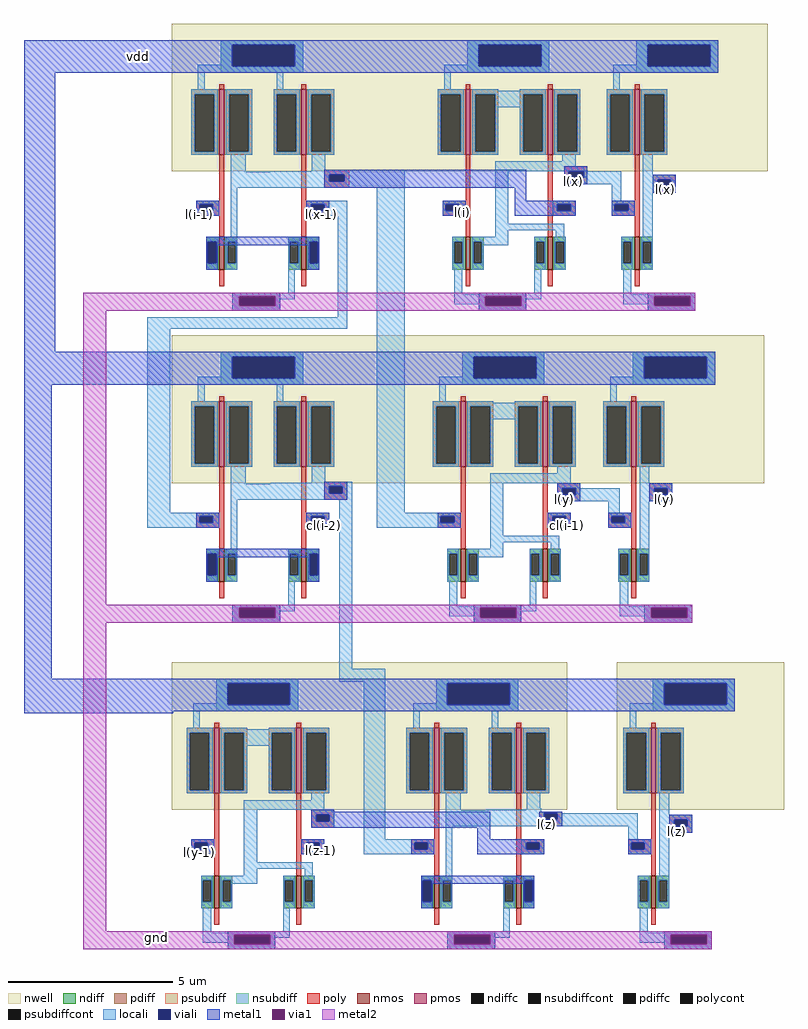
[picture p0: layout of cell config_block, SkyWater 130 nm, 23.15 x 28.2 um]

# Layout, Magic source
magic
tech sky130A
<< nwell >>
rect -100 -150 1715 300
rect -100 -1100 1705 -650
rect -100 -2095 1105 -1645
rect 1255 -2095 1765 -1645
<< nmos >>
rect 45 -450 60 -350
rect 295 -450 310 -350
rect 795 -450 810 -350
rect 1045 -450 1060 -350
rect 1310 -450 1325 -350
rect 45 -1400 60 -1300
rect 295 -1400 310 -1300
rect 780 -1400 795 -1300
rect 1030 -1400 1045 -1300
rect 1300 -1400 1315 -1300
rect 30 -2395 45 -2295
rect 280 -2395 295 -2295
rect 700 -2395 715 -2295
rect 950 -2395 965 -2295
rect 1360 -2395 1375 -2295
<< pmos >>
rect 45 -100 60 100
rect 295 -100 310 100
rect 795 -100 810 100
rect 1045 -100 1060 100
rect 1310 -100 1325 100
rect 45 -1050 60 -850
rect 295 -1050 310 -850
rect 780 -1050 795 -850
rect 1030 -1050 1045 -850
rect 1300 -1050 1315 -850
rect 30 -2045 45 -1845
rect 280 -2045 295 -1845
rect 700 -2045 715 -1845
rect 950 -2045 965 -1845
rect 1360 -2045 1375 -1845
<< ndiff >>
rect 5 -365 45 -350
rect 5 -430 10 -365
rect 35 -430 45 -365
rect 5 -450 45 -430
rect 60 -365 100 -350
rect 60 -430 70 -365
rect 95 -430 100 -365
rect 60 -450 100 -430
rect 255 -365 295 -350
rect 255 -430 260 -365
rect 285 -430 295 -365
rect 255 -450 295 -430
rect 310 -365 350 -350
rect 310 -430 320 -365
rect 345 -430 350 -365
rect 310 -450 350 -430
rect 755 -365 795 -350
rect 755 -430 760 -365
rect 785 -430 795 -365
rect 755 -450 795 -430
rect 810 -365 850 -350
rect 810 -430 820 -365
rect 845 -430 850 -365
rect 810 -450 850 -430
rect 1005 -365 1045 -350
rect 1005 -430 1010 -365
rect 1035 -430 1045 -365
rect 1005 -450 1045 -430
rect 1060 -365 1100 -350
rect 1060 -430 1070 -365
rect 1095 -430 1100 -365
rect 1060 -450 1100 -430
rect 1270 -365 1310 -350
rect 1270 -430 1275 -365
rect 1300 -430 1310 -365
rect 1270 -450 1310 -430
rect 1325 -365 1365 -350
rect 1325 -430 1335 -365
rect 1360 -430 1365 -365
rect 1325 -450 1365 -430
rect 5 -1315 45 -1300
rect 5 -1380 10 -1315
rect 35 -1380 45 -1315
rect 5 -1400 45 -1380
rect 60 -1315 100 -1300
rect 60 -1380 70 -1315
rect 95 -1380 100 -1315
rect 60 -1400 100 -1380
rect 255 -1315 295 -1300
rect 255 -1380 260 -1315
rect 285 -1380 295 -1315
rect 255 -1400 295 -1380
rect 310 -1315 350 -1300
rect 310 -1380 320 -1315
rect 345 -1380 350 -1315
rect 310 -1400 350 -1380
rect 740 -1315 780 -1300
rect 740 -1380 745 -1315
rect 770 -1380 780 -1315
rect 740 -1400 780 -1380
rect 795 -1315 835 -1300
rect 795 -1380 805 -1315
rect 830 -1380 835 -1315
rect 795 -1400 835 -1380
rect 990 -1315 1030 -1300
rect 990 -1380 995 -1315
rect 1020 -1380 1030 -1315
rect 990 -1400 1030 -1380
rect 1045 -1315 1085 -1300
rect 1045 -1380 1055 -1315
rect 1080 -1380 1085 -1315
rect 1045 -1400 1085 -1380
rect 1260 -1315 1300 -1300
rect 1260 -1380 1265 -1315
rect 1290 -1380 1300 -1315
rect 1260 -1400 1300 -1380
rect 1315 -1315 1355 -1300
rect 1315 -1380 1325 -1315
rect 1350 -1380 1355 -1315
rect 1315 -1400 1355 -1380
rect -10 -2310 30 -2295
rect -10 -2375 -5 -2310
rect 20 -2375 30 -2310
rect -10 -2395 30 -2375
rect 45 -2310 85 -2295
rect 45 -2375 55 -2310
rect 80 -2375 85 -2310
rect 45 -2395 85 -2375
rect 240 -2310 280 -2295
rect 240 -2375 245 -2310
rect 270 -2375 280 -2310
rect 240 -2395 280 -2375
rect 295 -2310 335 -2295
rect 295 -2375 305 -2310
rect 330 -2375 335 -2310
rect 295 -2395 335 -2375
rect 660 -2310 700 -2295
rect 660 -2375 665 -2310
rect 690 -2375 700 -2310
rect 660 -2395 700 -2375
rect 715 -2310 755 -2295
rect 715 -2375 725 -2310
rect 750 -2375 755 -2310
rect 715 -2395 755 -2375
rect 910 -2310 950 -2295
rect 910 -2375 915 -2310
rect 940 -2375 950 -2310
rect 910 -2395 950 -2375
rect 965 -2310 1005 -2295
rect 965 -2375 975 -2310
rect 1000 -2375 1005 -2310
rect 965 -2395 1005 -2375
rect 1320 -2310 1360 -2295
rect 1320 -2375 1325 -2310
rect 1350 -2375 1360 -2310
rect 1320 -2395 1360 -2375
rect 1375 -2310 1415 -2295
rect 1375 -2375 1385 -2310
rect 1410 -2375 1415 -2310
rect 1375 -2395 1415 -2375
<< pdiff >>
rect -40 85 45 100
rect -40 -90 -30 85
rect 30 -90 45 85
rect -40 -100 45 -90
rect 60 85 145 100
rect 60 -90 75 85
rect 135 -90 145 85
rect 60 -100 145 -90
rect 210 85 295 100
rect 210 -90 220 85
rect 280 -90 295 85
rect 210 -100 295 -90
rect 310 85 395 100
rect 310 -90 325 85
rect 385 -90 395 85
rect 310 -100 395 -90
rect 710 85 795 100
rect 710 -90 720 85
rect 780 -90 795 85
rect 710 -100 795 -90
rect 810 85 895 100
rect 810 -90 825 85
rect 885 -90 895 85
rect 810 -100 895 -90
rect 960 85 1045 100
rect 960 -90 970 85
rect 1030 -90 1045 85
rect 960 -100 1045 -90
rect 1060 85 1145 100
rect 1060 -90 1075 85
rect 1135 -90 1145 85
rect 1060 -100 1145 -90
rect 1225 85 1310 100
rect 1225 -90 1235 85
rect 1295 -90 1310 85
rect 1225 -100 1310 -90
rect 1325 85 1410 100
rect 1325 -90 1340 85
rect 1400 -90 1410 85
rect 1325 -100 1410 -90
rect -40 -865 45 -850
rect -40 -1040 -30 -865
rect 30 -1040 45 -865
rect -40 -1050 45 -1040
rect 60 -865 145 -850
rect 60 -1040 75 -865
rect 135 -1040 145 -865
rect 60 -1050 145 -1040
rect 210 -865 295 -850
rect 210 -1040 220 -865
rect 280 -1040 295 -865
rect 210 -1050 295 -1040
rect 310 -865 395 -850
rect 310 -1040 325 -865
rect 385 -1040 395 -865
rect 310 -1050 395 -1040
rect 695 -865 780 -850
rect 695 -1040 705 -865
rect 765 -1040 780 -865
rect 695 -1050 780 -1040
rect 795 -865 880 -850
rect 795 -1040 810 -865
rect 870 -1040 880 -865
rect 795 -1050 880 -1040
rect 945 -865 1030 -850
rect 945 -1040 955 -865
rect 1015 -1040 1030 -865
rect 945 -1050 1030 -1040
rect 1045 -865 1130 -850
rect 1045 -1040 1060 -865
rect 1120 -1040 1130 -865
rect 1045 -1050 1130 -1040
rect 1215 -865 1300 -850
rect 1215 -1040 1225 -865
rect 1285 -1040 1300 -865
rect 1215 -1050 1300 -1040
rect 1315 -865 1400 -850
rect 1315 -1040 1330 -865
rect 1390 -1040 1400 -865
rect 1315 -1050 1400 -1040
rect -55 -1860 30 -1845
rect -55 -2035 -45 -1860
rect 15 -2035 30 -1860
rect -55 -2045 30 -2035
rect 45 -1860 130 -1845
rect 45 -2035 60 -1860
rect 120 -2035 130 -1860
rect 45 -2045 130 -2035
rect 195 -1860 280 -1845
rect 195 -2035 205 -1860
rect 265 -2035 280 -1860
rect 195 -2045 280 -2035
rect 295 -1860 380 -1845
rect 295 -2035 310 -1860
rect 370 -2035 380 -1860
rect 295 -2045 380 -2035
rect 615 -1860 700 -1845
rect 615 -2035 625 -1860
rect 685 -2035 700 -1860
rect 615 -2045 700 -2035
rect 715 -1860 800 -1845
rect 715 -2035 730 -1860
rect 790 -2035 800 -1860
rect 715 -2045 800 -2035
rect 865 -1860 950 -1845
rect 865 -2035 875 -1860
rect 935 -2035 950 -1860
rect 865 -2045 950 -2035
rect 965 -1860 1050 -1845
rect 965 -2035 980 -1860
rect 1040 -2035 1050 -1860
rect 965 -2045 1050 -2035
rect 1275 -1860 1360 -1845
rect 1275 -2035 1285 -1860
rect 1345 -2035 1360 -1860
rect 1275 -2045 1360 -2035
rect 1375 -1860 1460 -1845
rect 1375 -2035 1390 -1860
rect 1450 -2035 1460 -1860
rect 1375 -2045 1460 -2035
<< ndiffc >>
rect 10 -430 35 -365
rect 70 -430 95 -365
rect 260 -430 285 -365
rect 320 -430 345 -365
rect 760 -430 785 -365
rect 820 -430 845 -365
rect 1010 -430 1035 -365
rect 1070 -430 1095 -365
rect 1275 -430 1300 -365
rect 1335 -430 1360 -365
rect 10 -1380 35 -1315
rect 70 -1380 95 -1315
rect 260 -1380 285 -1315
rect 320 -1380 345 -1315
rect 745 -1380 770 -1315
rect 805 -1380 830 -1315
rect 995 -1380 1020 -1315
rect 1055 -1380 1080 -1315
rect 1265 -1380 1290 -1315
rect 1325 -1380 1350 -1315
rect -5 -2375 20 -2310
rect 55 -2375 80 -2310
rect 245 -2375 270 -2310
rect 305 -2375 330 -2310
rect 665 -2375 690 -2310
rect 725 -2375 750 -2310
rect 915 -2375 940 -2310
rect 975 -2375 1000 -2310
rect 1325 -2375 1350 -2310
rect 1385 -2375 1410 -2310
<< pdiffc >>
rect -30 -90 30 85
rect 75 -90 135 85
rect 220 -90 280 85
rect 325 -90 385 85
rect 720 -90 780 85
rect 825 -90 885 85
rect 970 -90 1030 85
rect 1075 -90 1135 85
rect 1235 -90 1295 85
rect 1340 -90 1400 85
rect -30 -1040 30 -865
rect 75 -1040 135 -865
rect 220 -1040 280 -865
rect 325 -1040 385 -865
rect 705 -1040 765 -865
rect 810 -1040 870 -865
rect 955 -1040 1015 -865
rect 1060 -1040 1120 -865
rect 1225 -1040 1285 -865
rect 1330 -1040 1390 -865
rect -45 -2035 15 -1860
rect 60 -2035 120 -1860
rect 205 -2035 265 -1860
rect 310 -2035 370 -1860
rect 625 -2035 685 -1860
rect 730 -2035 790 -1860
rect 875 -2035 935 -1860
rect 980 -2035 1040 -1860
rect 1285 -2035 1345 -1860
rect 1390 -2035 1450 -1860
<< psubdiff >>
rect 85 -535 230 -520
rect 85 -560 105 -535
rect 215 -560 230 -535
rect 85 -575 230 -560
rect 835 -535 980 -520
rect 835 -560 855 -535
rect 965 -560 980 -535
rect 835 -575 980 -560
rect 1350 -535 1495 -520
rect 1350 -560 1370 -535
rect 1480 -560 1495 -535
rect 1350 -575 1495 -560
rect 85 -1485 230 -1470
rect 85 -1510 105 -1485
rect 215 -1510 230 -1485
rect 85 -1525 230 -1510
rect 820 -1485 965 -1470
rect 820 -1510 840 -1485
rect 950 -1510 965 -1485
rect 820 -1525 965 -1510
rect 1340 -1485 1485 -1470
rect 1340 -1510 1360 -1485
rect 1470 -1510 1485 -1485
rect 1340 -1525 1485 -1510
rect 70 -2480 215 -2465
rect 70 -2505 90 -2480
rect 200 -2505 215 -2480
rect 70 -2520 215 -2505
rect 740 -2480 885 -2465
rect 740 -2505 760 -2480
rect 870 -2505 885 -2480
rect 740 -2520 885 -2505
rect 1400 -2480 1545 -2465
rect 1400 -2505 1420 -2480
rect 1530 -2505 1545 -2480
rect 1400 -2520 1545 -2505
<< nsubdiff >>
rect 50 235 300 250
rect 50 170 85 235
rect 275 170 300 235
rect 50 150 300 170
rect 800 235 1050 250
rect 800 170 835 235
rect 1025 170 1050 235
rect 800 150 1050 170
rect 1315 235 1565 250
rect 1315 170 1350 235
rect 1540 170 1565 235
rect 1315 150 1565 170
rect 50 -715 300 -700
rect 50 -780 85 -715
rect 275 -780 300 -715
rect 50 -800 300 -780
rect 785 -715 1035 -700
rect 785 -780 820 -715
rect 1010 -780 1035 -715
rect 785 -800 1035 -780
rect 1305 -715 1555 -700
rect 1305 -780 1340 -715
rect 1530 -780 1555 -715
rect 1305 -800 1555 -780
rect 35 -1710 285 -1695
rect 35 -1775 70 -1710
rect 260 -1775 285 -1710
rect 35 -1795 285 -1775
rect 705 -1710 955 -1695
rect 705 -1775 740 -1710
rect 930 -1775 955 -1710
rect 705 -1795 955 -1775
rect 1365 -1710 1615 -1695
rect 1365 -1775 1400 -1710
rect 1590 -1775 1615 -1710
rect 1365 -1795 1615 -1775
<< psubdiffcont >>
rect 105 -560 215 -535
rect 855 -560 965 -535
rect 1370 -560 1480 -535
rect 105 -1510 215 -1485
rect 840 -1510 950 -1485
rect 1360 -1510 1470 -1485
rect 90 -2505 200 -2480
rect 760 -2505 870 -2480
rect 1420 -2505 1530 -2480
<< nsubdiffcont >>
rect 85 170 275 235
rect 835 170 1025 235
rect 1350 170 1540 235
rect 85 -780 275 -715
rect 820 -780 1010 -715
rect 1340 -780 1530 -715
rect 70 -1775 260 -1710
rect 740 -1775 930 -1710
rect 1400 -1775 1590 -1710
<< poly >>
rect 45 100 60 115
rect 295 100 310 115
rect 795 100 810 115
rect 1045 100 1060 115
rect 1310 100 1325 115
rect 45 -240 60 -100
rect -25 -250 60 -240
rect -25 -270 -15 -250
rect 25 -270 60 -250
rect -25 -285 60 -270
rect 45 -350 60 -285
rect 295 -240 310 -100
rect 365 -160 440 -145
rect 365 -180 380 -160
rect 425 -180 440 -160
rect 365 -200 440 -180
rect 795 -240 810 -100
rect 295 -250 380 -240
rect 295 -270 325 -250
rect 365 -270 380 -250
rect 295 -285 380 -270
rect 725 -250 810 -240
rect 725 -270 735 -250
rect 775 -270 810 -250
rect 725 -285 810 -270
rect 295 -350 310 -285
rect 795 -350 810 -285
rect 1045 -240 1060 -100
rect 1095 -150 1165 -135
rect 1095 -170 1110 -150
rect 1155 -170 1165 -150
rect 1095 -190 1165 -170
rect 1310 -240 1325 -100
rect 1365 -175 1435 -160
rect 1365 -195 1380 -175
rect 1420 -195 1435 -175
rect 1365 -215 1435 -195
rect 1045 -250 1130 -240
rect 1045 -270 1075 -250
rect 1115 -270 1130 -250
rect 1045 -285 1130 -270
rect 1240 -250 1325 -240
rect 1240 -270 1250 -250
rect 1290 -270 1325 -250
rect 1240 -285 1325 -270
rect 1045 -350 1060 -285
rect 1310 -350 1325 -285
rect 45 -500 60 -450
rect 295 -500 310 -450
rect 795 -500 810 -450
rect 1045 -500 1060 -450
rect 1310 -500 1325 -450
rect 45 -850 60 -835
rect 295 -850 310 -835
rect 780 -850 795 -835
rect 1030 -850 1045 -835
rect 1300 -850 1315 -835
rect 45 -1190 60 -1050
rect -25 -1200 60 -1190
rect -25 -1220 -15 -1200
rect 25 -1220 60 -1200
rect -25 -1235 60 -1220
rect 45 -1300 60 -1235
rect 295 -1190 310 -1050
rect 365 -1110 435 -1095
rect 365 -1130 380 -1110
rect 420 -1130 435 -1110
rect 365 -1150 435 -1130
rect 780 -1190 795 -1050
rect 295 -1200 380 -1190
rect 295 -1220 325 -1200
rect 365 -1220 380 -1200
rect 295 -1235 380 -1220
rect 710 -1200 795 -1190
rect 710 -1220 720 -1200
rect 760 -1220 795 -1200
rect 710 -1235 795 -1220
rect 295 -1300 310 -1235
rect 780 -1300 795 -1235
rect 1030 -1190 1045 -1050
rect 1075 -1115 1145 -1100
rect 1075 -1135 1090 -1115
rect 1130 -1135 1145 -1115
rect 1075 -1155 1145 -1135
rect 1300 -1190 1315 -1050
rect 1355 -1115 1425 -1100
rect 1355 -1135 1370 -1115
rect 1410 -1135 1425 -1115
rect 1355 -1155 1425 -1135
rect 1030 -1200 1115 -1190
rect 1030 -1220 1060 -1200
rect 1100 -1220 1115 -1200
rect 1030 -1235 1115 -1220
rect 1230 -1200 1315 -1190
rect 1230 -1220 1240 -1200
rect 1280 -1220 1315 -1200
rect 1230 -1235 1315 -1220
rect 1030 -1300 1045 -1235
rect 1300 -1300 1315 -1235
rect 45 -1450 60 -1400
rect 295 -1450 310 -1400
rect 780 -1450 795 -1400
rect 1030 -1450 1045 -1400
rect 1300 -1450 1315 -1400
rect 30 -1845 45 -1830
rect 280 -1845 295 -1830
rect 700 -1845 715 -1830
rect 950 -1845 965 -1830
rect 1360 -1845 1375 -1830
rect 30 -2185 45 -2045
rect -40 -2195 45 -2185
rect -40 -2215 -30 -2195
rect 10 -2215 45 -2195
rect -40 -2230 45 -2215
rect 30 -2295 45 -2230
rect 280 -2185 295 -2045
rect 325 -2110 395 -2095
rect 325 -2130 340 -2110
rect 380 -2130 395 -2110
rect 325 -2150 395 -2130
rect 700 -2185 715 -2045
rect 280 -2195 365 -2185
rect 280 -2215 310 -2195
rect 350 -2215 365 -2195
rect 280 -2230 365 -2215
rect 630 -2195 715 -2185
rect 630 -2215 640 -2195
rect 680 -2215 715 -2195
rect 630 -2230 715 -2215
rect 280 -2295 295 -2230
rect 700 -2295 715 -2230
rect 950 -2185 965 -2045
rect 1020 -2105 1090 -2100
rect 1020 -2125 1035 -2105
rect 1075 -2125 1090 -2105
rect 1020 -2145 1090 -2125
rect 1360 -2185 1375 -2045
rect 1415 -2125 1485 -2110
rect 1415 -2145 1430 -2125
rect 1470 -2145 1485 -2125
rect 1415 -2165 1485 -2145
rect 950 -2195 1035 -2185
rect 950 -2215 980 -2195
rect 1020 -2215 1035 -2195
rect 950 -2230 1035 -2215
rect 1290 -2195 1375 -2185
rect 1290 -2215 1300 -2195
rect 1340 -2215 1375 -2195
rect 1290 -2230 1375 -2215
rect 950 -2295 965 -2230
rect 1360 -2295 1375 -2230
rect 30 -2445 45 -2395
rect 280 -2445 295 -2395
rect 700 -2445 715 -2395
rect 950 -2445 965 -2395
rect 1360 -2445 1375 -2395
<< polycont >>
rect -15 -270 25 -250
rect 380 -180 425 -160
rect 325 -270 365 -250
rect 735 -270 775 -250
rect 1110 -170 1155 -150
rect 1380 -195 1420 -175
rect 1075 -270 1115 -250
rect 1250 -270 1290 -250
rect -15 -1220 25 -1200
rect 380 -1130 420 -1110
rect 325 -1220 365 -1200
rect 720 -1220 760 -1200
rect 1090 -1135 1130 -1115
rect 1370 -1135 1410 -1115
rect 1060 -1220 1100 -1200
rect 1240 -1220 1280 -1200
rect -30 -2215 10 -2195
rect 340 -2130 380 -2110
rect 310 -2215 350 -2195
rect 640 -2215 680 -2195
rect 1035 -2125 1075 -2105
rect 1430 -2145 1470 -2125
rect 980 -2215 1020 -2195
rect 1300 -2215 1340 -2195
<< locali >>
rect 50 235 300 250
rect 50 175 85 235
rect -20 170 85 175
rect 275 170 300 235
rect 800 235 1050 250
rect 800 175 835 235
rect -20 150 300 170
rect 730 170 835 175
rect 1025 170 1050 235
rect 1315 235 1565 250
rect 1315 175 1350 235
rect 730 150 1050 170
rect 1245 170 1350 175
rect 1540 170 1565 235
rect 1245 150 1565 170
rect -20 100 0 150
rect 220 100 240 150
rect 730 100 750 150
rect 1245 100 1265 150
rect -40 85 40 100
rect -40 -90 -30 85
rect 30 -90 40 85
rect -40 -100 40 -90
rect 65 85 145 100
rect 65 -90 75 85
rect 135 -90 145 85
rect 65 -100 145 -90
rect 210 85 290 100
rect 210 -90 220 85
rect 280 -90 290 85
rect 210 -100 290 -90
rect 315 85 395 100
rect 315 -90 325 85
rect 385 -90 395 85
rect 315 -100 395 -90
rect 710 85 790 100
rect 710 -90 720 85
rect 780 -90 790 85
rect 710 -100 790 -90
rect 815 95 895 100
rect 960 95 1040 100
rect 815 85 1040 95
rect 815 -90 825 85
rect 885 45 970 85
rect 885 -90 895 45
rect 815 -100 895 -90
rect 960 -90 970 45
rect 1030 -90 1040 85
rect 960 -100 1040 -90
rect 1065 85 1145 100
rect 1065 -90 1075 85
rect 1135 -90 1145 85
rect 1065 -100 1145 -90
rect 1225 85 1305 100
rect 1225 -90 1235 85
rect 1295 -90 1305 85
rect 1225 -100 1305 -90
rect 1330 85 1410 100
rect 1330 -90 1340 85
rect 1400 -90 1410 85
rect 1330 -100 1410 -90
rect 80 -151 125 -100
rect 326 -145 368 -100
rect 1090 -120 1130 -100
rect 885 -135 1130 -120
rect 326 -149 610 -145
rect 201 -151 610 -149
rect 80 -160 610 -151
rect 80 -180 380 -160
rect 425 -180 610 -160
rect 80 -200 610 -180
rect -25 -250 45 -240
rect -25 -270 -15 -250
rect 25 -270 45 -250
rect -25 -285 45 -270
rect 80 -350 100 -200
rect 310 -250 435 -240
rect 310 -270 325 -250
rect 365 -270 435 -250
rect 310 -285 435 -270
rect 5 -365 40 -350
rect 5 -430 10 -365
rect 35 -430 40 -365
rect 5 -450 40 -430
rect 65 -365 100 -350
rect 65 -430 70 -365
rect 95 -430 100 -365
rect 65 -450 100 -430
rect 255 -365 290 -350
rect 255 -430 260 -365
rect 285 -430 290 -365
rect 255 -450 290 -430
rect 315 -365 350 -350
rect 315 -430 320 -365
rect 345 -430 350 -365
rect 315 -450 350 -430
rect 255 -520 275 -450
rect 85 -535 275 -520
rect 85 -560 105 -535
rect 215 -540 275 -535
rect 215 -560 230 -540
rect 85 -575 230 -560
rect 405 -595 435 -285
rect -175 -630 435 -595
rect -175 -1190 -105 -630
rect 50 -715 300 -700
rect 50 -775 85 -715
rect -20 -780 85 -775
rect 275 -780 300 -715
rect -20 -800 300 -780
rect -20 -850 0 -800
rect 220 -850 240 -800
rect -40 -865 40 -850
rect -40 -1040 -30 -865
rect 30 -1040 40 -865
rect -40 -1050 40 -1040
rect 65 -865 145 -850
rect 65 -1040 75 -865
rect 135 -1040 145 -865
rect 65 -1050 145 -1040
rect 210 -865 290 -850
rect 210 -1040 220 -865
rect 280 -1040 290 -865
rect 210 -1050 290 -1040
rect 315 -865 395 -850
rect 315 -1040 325 -865
rect 385 -1040 395 -865
rect 315 -1050 395 -1040
rect 80 -1101 125 -1050
rect 326 -1095 368 -1050
rect 326 -1099 450 -1095
rect 201 -1101 450 -1099
rect 80 -1110 450 -1101
rect 80 -1130 380 -1110
rect 420 -1130 450 -1110
rect 80 -1150 450 -1130
rect -175 -1200 45 -1190
rect -175 -1220 -15 -1200
rect 25 -1220 45 -1200
rect -175 -1235 45 -1220
rect 80 -1300 100 -1150
rect 310 -1200 380 -1190
rect 310 -1220 325 -1200
rect 365 -1220 380 -1200
rect 310 -1235 380 -1220
rect 5 -1315 40 -1300
rect 5 -1380 10 -1315
rect 35 -1380 40 -1315
rect 5 -1400 40 -1380
rect 65 -1315 100 -1300
rect 65 -1380 70 -1315
rect 95 -1380 100 -1315
rect 65 -1400 100 -1380
rect 255 -1315 290 -1300
rect 255 -1380 260 -1315
rect 285 -1380 290 -1315
rect 255 -1400 290 -1380
rect 315 -1315 350 -1300
rect 315 -1380 320 -1315
rect 345 -1380 350 -1315
rect 315 -1400 350 -1380
rect 255 -1470 275 -1400
rect 85 -1485 275 -1470
rect 85 -1510 105 -1485
rect 215 -1490 275 -1485
rect 215 -1510 230 -1490
rect 85 -1525 230 -1510
rect 410 -1665 450 -1150
rect 525 -1190 610 -200
rect 885 -150 1165 -135
rect 725 -250 795 -240
rect 725 -270 735 -250
rect 775 -270 795 -250
rect 725 -285 795 -270
rect 885 -310 925 -150
rect 1095 -170 1110 -150
rect 1155 -170 1270 -150
rect 1095 -190 1270 -170
rect 1240 -240 1270 -190
rect 1335 -160 1365 -100
rect 1335 -175 1435 -160
rect 1335 -195 1380 -175
rect 1420 -195 1435 -175
rect 1335 -215 1435 -195
rect 1060 -250 1130 -240
rect 1060 -270 1075 -250
rect 1115 -270 1130 -250
rect 1060 -285 1130 -270
rect 1240 -250 1310 -240
rect 1240 -270 1250 -250
rect 1290 -270 1310 -250
rect 1240 -285 1310 -270
rect 885 -330 1095 -310
rect 885 -350 925 -330
rect 1070 -350 1095 -330
rect 1335 -350 1365 -215
rect 755 -365 790 -350
rect 755 -430 760 -365
rect 785 -430 790 -365
rect 755 -450 790 -430
rect 815 -365 925 -350
rect 815 -430 820 -365
rect 845 -375 925 -365
rect 1005 -365 1040 -350
rect 845 -430 850 -375
rect 815 -450 850 -430
rect 1005 -430 1010 -365
rect 1035 -430 1040 -365
rect 1005 -450 1040 -430
rect 1065 -365 1100 -350
rect 1065 -430 1070 -365
rect 1095 -430 1100 -365
rect 1065 -450 1100 -430
rect 1270 -365 1305 -350
rect 1270 -430 1275 -365
rect 1300 -430 1305 -365
rect 1270 -450 1305 -430
rect 1330 -365 1365 -350
rect 1330 -430 1335 -365
rect 1360 -430 1365 -365
rect 1330 -450 1365 -430
rect 760 -525 785 -450
rect 1005 -520 1025 -450
rect 835 -525 1025 -520
rect 760 -535 1025 -525
rect 760 -555 855 -535
rect 835 -560 855 -555
rect 965 -540 1025 -535
rect 1275 -525 1300 -450
rect 1350 -525 1495 -520
rect 1275 -535 1495 -525
rect 965 -560 980 -540
rect 1275 -555 1370 -535
rect 835 -575 980 -560
rect 1350 -560 1370 -555
rect 1480 -560 1495 -535
rect 1350 -575 1495 -560
rect 785 -715 1035 -700
rect 785 -775 820 -715
rect 715 -780 820 -775
rect 1010 -780 1035 -715
rect 1305 -715 1555 -700
rect 1305 -775 1340 -715
rect 715 -800 1035 -780
rect 1235 -780 1340 -775
rect 1530 -780 1555 -715
rect 1235 -800 1555 -780
rect 715 -850 735 -800
rect 1235 -850 1255 -800
rect 695 -865 775 -850
rect 695 -1040 705 -865
rect 765 -1040 775 -865
rect 695 -1050 775 -1040
rect 800 -855 880 -850
rect 945 -855 1025 -850
rect 800 -865 1025 -855
rect 800 -1040 810 -865
rect 870 -905 955 -865
rect 870 -1040 880 -905
rect 800 -1050 880 -1040
rect 945 -1040 955 -905
rect 1015 -1040 1025 -865
rect 945 -1050 1025 -1040
rect 1050 -865 1130 -850
rect 1050 -1040 1060 -865
rect 1120 -1040 1130 -865
rect 1050 -1050 1130 -1040
rect 1215 -865 1295 -850
rect 1215 -1040 1225 -865
rect 1285 -1040 1295 -865
rect 1215 -1050 1295 -1040
rect 1320 -865 1400 -850
rect 1320 -1040 1330 -865
rect 1390 -1040 1400 -865
rect 1320 -1050 1400 -1040
rect 1075 -1070 1115 -1050
rect 870 -1100 1115 -1070
rect 1325 -1100 1355 -1050
rect 525 -1200 780 -1190
rect 525 -1220 720 -1200
rect 760 -1220 780 -1200
rect 525 -1235 780 -1220
rect 870 -1260 910 -1100
rect 1075 -1115 1145 -1100
rect 1325 -1115 1425 -1100
rect 1075 -1135 1090 -1115
rect 1130 -1135 1265 -1115
rect 1075 -1155 1265 -1135
rect 1230 -1190 1265 -1155
rect 1325 -1135 1370 -1115
rect 1410 -1135 1425 -1115
rect 1325 -1155 1425 -1135
rect 1045 -1200 1115 -1190
rect 1045 -1220 1060 -1200
rect 1100 -1220 1115 -1200
rect 1045 -1235 1115 -1220
rect 1230 -1200 1300 -1190
rect 1230 -1220 1240 -1200
rect 1280 -1220 1300 -1200
rect 1230 -1235 1300 -1220
rect 870 -1280 1080 -1260
rect 870 -1300 910 -1280
rect 1055 -1300 1080 -1280
rect 1325 -1300 1355 -1155
rect 740 -1315 775 -1300
rect 740 -1380 745 -1315
rect 770 -1380 775 -1315
rect 740 -1400 775 -1380
rect 800 -1315 910 -1300
rect 800 -1380 805 -1315
rect 830 -1325 910 -1315
rect 990 -1315 1025 -1300
rect 830 -1380 835 -1325
rect 800 -1400 835 -1380
rect 990 -1380 995 -1315
rect 1020 -1380 1025 -1315
rect 990 -1400 1025 -1380
rect 1050 -1315 1085 -1300
rect 1050 -1380 1055 -1315
rect 1080 -1380 1085 -1315
rect 1050 -1400 1085 -1380
rect 1260 -1315 1295 -1300
rect 1260 -1380 1265 -1315
rect 1290 -1380 1295 -1315
rect 1260 -1400 1295 -1380
rect 1320 -1315 1355 -1300
rect 1320 -1380 1325 -1315
rect 1350 -1380 1355 -1315
rect 1320 -1400 1355 -1380
rect 745 -1475 770 -1400
rect 990 -1470 1010 -1400
rect 820 -1475 1010 -1470
rect 745 -1485 1010 -1475
rect 745 -1505 840 -1485
rect 820 -1510 840 -1505
rect 950 -1490 1010 -1485
rect 1265 -1475 1290 -1400
rect 1340 -1475 1485 -1470
rect 1265 -1485 1485 -1475
rect 950 -1510 965 -1490
rect 1265 -1505 1360 -1485
rect 820 -1525 965 -1510
rect 1340 -1510 1360 -1505
rect 1470 -1510 1485 -1485
rect 1340 -1525 1485 -1510
rect 35 -1710 285 -1695
rect 410 -1705 550 -1665
rect 35 -1770 70 -1710
rect -35 -1775 70 -1770
rect 260 -1775 285 -1710
rect -35 -1795 285 -1775
rect -35 -1845 -15 -1795
rect -55 -1860 25 -1845
rect -55 -2035 -45 -1860
rect 15 -2035 25 -1860
rect -55 -2045 25 -2035
rect 50 -1850 130 -1845
rect 195 -1850 275 -1845
rect 50 -1860 275 -1850
rect 50 -2035 60 -1860
rect 120 -1900 205 -1860
rect 120 -2035 130 -1900
rect 50 -2045 130 -2035
rect 195 -2035 205 -1900
rect 265 -2035 275 -1860
rect 195 -2045 275 -2035
rect 300 -1860 380 -1845
rect 300 -2035 310 -1860
rect 370 -2035 380 -1860
rect 300 -2045 380 -2035
rect 325 -2065 365 -2045
rect 120 -2095 365 -2065
rect -40 -2195 30 -2185
rect -40 -2215 -30 -2195
rect 10 -2215 30 -2195
rect -40 -2230 30 -2215
rect 120 -2255 160 -2095
rect 325 -2110 395 -2095
rect 325 -2130 340 -2110
rect 380 -2130 395 -2110
rect 325 -2150 395 -2130
rect 485 -2185 550 -1705
rect 705 -1710 955 -1695
rect 705 -1770 740 -1710
rect 635 -1775 740 -1770
rect 930 -1775 955 -1710
rect 1365 -1710 1615 -1695
rect 1365 -1770 1400 -1710
rect 635 -1795 955 -1775
rect 1295 -1775 1400 -1770
rect 1590 -1775 1615 -1710
rect 1295 -1795 1615 -1775
rect 635 -1845 655 -1795
rect 875 -1845 895 -1795
rect 1295 -1845 1315 -1795
rect 615 -1860 695 -1845
rect 615 -2035 625 -1860
rect 685 -2035 695 -1860
rect 615 -2045 695 -2035
rect 720 -1860 800 -1845
rect 720 -2035 730 -1860
rect 790 -2035 800 -1860
rect 720 -2045 800 -2035
rect 865 -1860 945 -1845
rect 865 -2035 875 -1860
rect 935 -2035 945 -1860
rect 865 -2045 945 -2035
rect 970 -1860 1050 -1845
rect 970 -2035 980 -1860
rect 1040 -2035 1050 -1860
rect 970 -2045 1050 -2035
rect 1275 -1860 1355 -1845
rect 1275 -2035 1285 -1860
rect 1345 -2035 1355 -1860
rect 1275 -2045 1355 -2035
rect 1380 -1860 1460 -1845
rect 1380 -2035 1390 -1860
rect 1450 -2035 1460 -1860
rect 1380 -2045 1460 -2035
rect 735 -2096 780 -2045
rect 981 -2090 1023 -2045
rect 981 -2094 1025 -2090
rect 856 -2096 1025 -2094
rect 735 -2100 1025 -2096
rect 735 -2105 1090 -2100
rect 735 -2125 1035 -2105
rect 1075 -2125 1320 -2105
rect 735 -2145 1320 -2125
rect 295 -2195 365 -2185
rect 295 -2215 310 -2195
rect 350 -2215 365 -2195
rect 295 -2230 365 -2215
rect 485 -2195 700 -2185
rect 485 -2215 640 -2195
rect 680 -2215 700 -2195
rect 485 -2230 700 -2215
rect 120 -2275 330 -2255
rect 120 -2295 160 -2275
rect 305 -2295 330 -2275
rect 735 -2295 755 -2145
rect 1290 -2185 1320 -2145
rect 1385 -2110 1415 -2045
rect 1385 -2125 1485 -2110
rect 1385 -2145 1430 -2125
rect 1470 -2145 1485 -2125
rect 1385 -2165 1485 -2145
rect 965 -2195 1035 -2185
rect 965 -2215 980 -2195
rect 1020 -2215 1035 -2195
rect 965 -2230 1035 -2215
rect 1290 -2195 1360 -2185
rect 1290 -2215 1300 -2195
rect 1340 -2215 1360 -2195
rect 1290 -2230 1360 -2215
rect 1385 -2295 1415 -2165
rect -10 -2310 25 -2295
rect -10 -2375 -5 -2310
rect 20 -2375 25 -2310
rect -10 -2395 25 -2375
rect 50 -2310 160 -2295
rect 50 -2375 55 -2310
rect 80 -2320 160 -2310
rect 240 -2310 275 -2295
rect 80 -2375 85 -2320
rect 50 -2395 85 -2375
rect 240 -2375 245 -2310
rect 270 -2375 275 -2310
rect 240 -2395 275 -2375
rect 300 -2310 335 -2295
rect 300 -2375 305 -2310
rect 330 -2375 335 -2310
rect 300 -2395 335 -2375
rect 660 -2310 695 -2295
rect 660 -2375 665 -2310
rect 690 -2375 695 -2310
rect 660 -2395 695 -2375
rect 720 -2310 755 -2295
rect 720 -2375 725 -2310
rect 750 -2375 755 -2310
rect 720 -2395 755 -2375
rect 910 -2310 945 -2295
rect 910 -2375 915 -2310
rect 940 -2375 945 -2310
rect 910 -2395 945 -2375
rect 970 -2310 1005 -2295
rect 970 -2375 975 -2310
rect 1000 -2375 1005 -2310
rect 970 -2395 1005 -2375
rect 1320 -2310 1355 -2295
rect 1320 -2375 1325 -2310
rect 1350 -2375 1355 -2310
rect 1320 -2395 1355 -2375
rect 1380 -2310 1415 -2295
rect 1380 -2375 1385 -2310
rect 1410 -2375 1415 -2310
rect 1380 -2395 1415 -2375
rect -5 -2470 20 -2395
rect 240 -2465 260 -2395
rect 910 -2465 930 -2395
rect 70 -2470 260 -2465
rect -5 -2480 260 -2470
rect -5 -2500 90 -2480
rect 70 -2505 90 -2500
rect 200 -2485 260 -2480
rect 740 -2480 930 -2465
rect 200 -2505 215 -2485
rect 70 -2520 215 -2505
rect 740 -2505 760 -2480
rect 870 -2485 930 -2480
rect 1325 -2470 1350 -2395
rect 1400 -2470 1545 -2465
rect 1325 -2480 1545 -2470
rect 870 -2505 885 -2485
rect 1325 -2500 1420 -2480
rect 740 -2520 885 -2505
rect 1400 -2505 1420 -2500
rect 1530 -2505 1545 -2480
rect 1400 -2520 1545 -2505
<< viali >>
rect 85 170 275 235
rect 835 170 1025 235
rect 1350 170 1540 235
rect 380 -180 425 -160
rect -15 -270 25 -250
rect 325 -270 365 -250
rect 10 -430 35 -365
rect 320 -430 345 -365
rect 105 -560 215 -535
rect 85 -780 275 -715
rect 380 -1130 420 -1110
rect -15 -1220 25 -1200
rect 325 -1220 365 -1200
rect 10 -1380 35 -1315
rect 320 -1380 345 -1315
rect 105 -1510 215 -1485
rect 735 -270 775 -250
rect 1110 -170 1155 -150
rect 1380 -195 1420 -175
rect 1075 -270 1115 -250
rect 1250 -270 1290 -250
rect 855 -560 965 -535
rect 1370 -560 1480 -535
rect 820 -780 1010 -715
rect 1340 -780 1530 -715
rect 720 -1220 760 -1200
rect 1090 -1135 1130 -1115
rect 1370 -1135 1410 -1115
rect 1060 -1220 1100 -1200
rect 1240 -1220 1280 -1200
rect 840 -1510 950 -1485
rect 1360 -1510 1470 -1485
rect 70 -1775 260 -1710
rect -30 -2215 10 -2195
rect 340 -2130 380 -2110
rect 740 -1775 930 -1710
rect 1400 -1775 1590 -1710
rect 1035 -2125 1075 -2105
rect 310 -2215 350 -2195
rect 640 -2215 680 -2195
rect 1430 -2145 1470 -2125
rect 980 -2215 1020 -2195
rect 1300 -2215 1340 -2195
rect 665 -2375 690 -2310
rect 975 -2375 1000 -2310
rect 90 -2505 200 -2480
rect 760 -2505 870 -2480
rect 1420 -2505 1530 -2480
<< metal1 >>
rect -550 235 1565 250
rect -550 170 85 235
rect 275 170 835 235
rect 1025 170 1350 235
rect 1540 170 1565 235
rect -550 150 1565 170
rect -550 -700 -455 150
rect 365 -160 980 -145
rect 365 -180 380 -160
rect 425 -180 980 -160
rect 365 -200 980 -180
rect 1095 -150 1165 -135
rect 1095 -170 1110 -150
rect 1155 -170 1165 -150
rect 1095 -190 1165 -170
rect 1365 -175 1435 -160
rect 945 -240 980 -200
rect 1365 -195 1380 -175
rect 1420 -195 1435 -175
rect 1365 -215 1435 -195
rect -25 -250 45 -240
rect -25 -270 -15 -250
rect 25 -270 45 -250
rect -25 -285 45 -270
rect 310 -250 380 -240
rect 310 -270 325 -250
rect 365 -270 380 -250
rect 310 -285 380 -270
rect 725 -250 795 -240
rect 725 -270 735 -250
rect 775 -270 795 -250
rect 725 -285 795 -270
rect 945 -250 1130 -240
rect 945 -270 1075 -250
rect 1115 -270 1130 -250
rect 945 -285 1130 -270
rect 1240 -250 1310 -240
rect 1240 -270 1250 -250
rect 1290 -270 1310 -250
rect 1240 -285 1310 -270
rect 5 -365 350 -350
rect 5 -430 10 -365
rect 35 -375 320 -365
rect 35 -430 40 -375
rect 5 -450 40 -430
rect 315 -430 320 -375
rect 345 -430 350 -365
rect 315 -450 350 -430
rect 85 -530 230 -520
rect 85 -560 105 -530
rect 215 -560 230 -530
rect 85 -575 230 -560
rect 835 -530 980 -520
rect 835 -560 855 -530
rect 965 -560 980 -530
rect 835 -575 980 -560
rect 1350 -530 1495 -520
rect 1350 -560 1370 -530
rect 1480 -560 1495 -530
rect 1350 -575 1495 -560
rect -550 -715 1555 -700
rect -550 -780 85 -715
rect 275 -780 820 -715
rect 1010 -780 1340 -715
rect 1530 -780 1555 -715
rect -550 -800 1555 -780
rect -550 -1695 -465 -800
rect 365 -1110 435 -1095
rect 365 -1130 380 -1110
rect 420 -1130 435 -1110
rect 365 -1150 435 -1130
rect 1075 -1115 1145 -1100
rect 1075 -1135 1090 -1115
rect 1130 -1135 1145 -1115
rect 1075 -1155 1145 -1135
rect 1355 -1115 1425 -1100
rect 1355 -1135 1370 -1115
rect 1410 -1135 1425 -1115
rect 1355 -1155 1425 -1135
rect -25 -1200 45 -1190
rect -25 -1220 -15 -1200
rect 25 -1220 45 -1200
rect -25 -1235 45 -1220
rect 310 -1200 380 -1190
rect 310 -1220 325 -1200
rect 365 -1220 380 -1200
rect 310 -1235 380 -1220
rect 710 -1200 780 -1190
rect 710 -1220 720 -1200
rect 760 -1220 780 -1200
rect 710 -1235 780 -1220
rect 1045 -1200 1115 -1190
rect 1045 -1220 1060 -1200
rect 1100 -1220 1115 -1200
rect 1045 -1235 1115 -1220
rect 1230 -1200 1300 -1190
rect 1230 -1220 1240 -1200
rect 1280 -1220 1300 -1200
rect 1230 -1235 1300 -1220
rect 5 -1315 350 -1300
rect 5 -1380 10 -1315
rect 35 -1325 320 -1315
rect 35 -1380 40 -1325
rect 5 -1400 40 -1380
rect 315 -1380 320 -1325
rect 345 -1380 350 -1315
rect 315 -1400 350 -1380
rect 85 -1480 230 -1470
rect 85 -1510 105 -1480
rect 215 -1510 230 -1480
rect 85 -1525 230 -1510
rect 820 -1480 965 -1470
rect 820 -1510 840 -1480
rect 950 -1510 965 -1480
rect 820 -1525 965 -1510
rect 1340 -1480 1485 -1470
rect 1340 -1510 1360 -1480
rect 1470 -1510 1485 -1480
rect 1340 -1525 1485 -1510
rect -550 -1710 1615 -1695
rect -550 -1775 70 -1710
rect 260 -1775 740 -1710
rect 930 -1775 1400 -1710
rect 1590 -1775 1615 -1710
rect -550 -1795 1615 -1775
rect -550 -1800 -95 -1795
rect 325 -2100 395 -2095
rect 325 -2110 870 -2100
rect 325 -2130 340 -2110
rect 380 -2130 870 -2110
rect 325 -2150 870 -2130
rect 1020 -2105 1090 -2100
rect 1020 -2125 1035 -2105
rect 1075 -2125 1090 -2105
rect 1020 -2145 1090 -2125
rect 1415 -2125 1485 -2110
rect 1415 -2145 1430 -2125
rect 1470 -2145 1485 -2125
rect 830 -2185 870 -2150
rect 1415 -2165 1485 -2145
rect -40 -2195 30 -2185
rect -40 -2215 -30 -2195
rect 10 -2215 30 -2195
rect -40 -2230 30 -2215
rect 295 -2195 365 -2185
rect 295 -2215 310 -2195
rect 350 -2215 365 -2195
rect 295 -2230 365 -2215
rect 630 -2195 700 -2185
rect 630 -2215 640 -2195
rect 680 -2215 700 -2195
rect 630 -2230 700 -2215
rect 830 -2195 1035 -2185
rect 830 -2215 980 -2195
rect 1020 -2215 1035 -2195
rect 830 -2230 1035 -2215
rect 1290 -2195 1360 -2185
rect 1290 -2215 1300 -2195
rect 1340 -2215 1360 -2195
rect 1290 -2230 1360 -2215
rect 660 -2310 1005 -2295
rect 660 -2375 665 -2310
rect 690 -2320 975 -2310
rect 690 -2375 695 -2320
rect 660 -2395 695 -2375
rect 970 -2375 975 -2320
rect 1000 -2375 1005 -2310
rect 970 -2395 1005 -2375
rect 70 -2475 215 -2465
rect 70 -2505 90 -2475
rect 200 -2505 215 -2475
rect 70 -2520 215 -2505
rect 740 -2475 885 -2465
rect 740 -2505 760 -2475
rect 870 -2505 885 -2475
rect 740 -2520 885 -2505
rect 1400 -2475 1545 -2465
rect 1400 -2505 1420 -2475
rect 1530 -2505 1545 -2475
rect 1400 -2520 1545 -2505
<< via1 >>
rect 105 -535 215 -530
rect 105 -560 215 -535
rect 855 -535 965 -530
rect 855 -560 965 -535
rect 1370 -535 1480 -530
rect 1370 -560 1480 -535
rect 105 -1485 215 -1480
rect 105 -1510 215 -1485
rect 840 -1485 950 -1480
rect 840 -1510 950 -1485
rect 1360 -1485 1470 -1480
rect 1360 -1510 1470 -1485
rect 90 -2480 200 -2475
rect 90 -2505 200 -2480
rect 760 -2480 870 -2475
rect 760 -2505 870 -2480
rect 1420 -2480 1530 -2475
rect 1420 -2505 1530 -2480
<< metal2 >>
rect -370 -530 1495 -520
rect -370 -560 105 -530
rect 215 -560 855 -530
rect 965 -560 1370 -530
rect 1480 -560 1495 -530
rect -370 -575 1495 -560
rect -370 -1470 -300 -575
rect -370 -1480 1485 -1470
rect -370 -1510 105 -1480
rect 215 -1510 840 -1480
rect 950 -1510 1360 -1480
rect 1470 -1510 1485 -1480
rect -370 -1525 1485 -1510
rect -370 -2465 -300 -1525
rect -370 -2475 1545 -2465
rect -370 -2505 90 -2475
rect 200 -2505 760 -2475
rect 870 -2505 1420 -2475
rect 1530 -2505 1545 -2475
rect -370 -2520 1545 -2505
<< labels >>
rlabel metal1 -200 200 -200 200 1 vdd
port 1 n
rlabel metal2 -145 -2485 -145 -2485 1 gnd
port 2 n
rlabel metal1 -15 -280 -15 -280 1 l(i-1)
port 3 n
rlabel metal1 355 -280 355 -280 1 l(x-1)
port 4 n
rlabel metal1 365 -1230 365 -1230 1 cl(i-2)
port 5 n
rlabel metal1 -15 -2225 -15 -2225 1 l(y-1)
port 6 n
rlabel metal1 355 -2220 355 -2220 1 l(z-1)
port 7 n
rlabel metal1 785 -275 785 -275 1 l(i)
port 8 n
rlabel metal1 1105 -1230 1105 -1230 1 cl(i-1)
port 9 n
rlabel metal1 1095 -1150 1095 -1150 1 l(y)
port 11 n
rlabel metal1 1125 -180 1125 -180 1 l(x)
port 12 n
rlabel metal1 1405 -205 1405 -205 1 l(x)
port 13 n
rlabel metal1 1400 -1150 1400 -1150 1 l(y)
port 14 n
rlabel metal1 1440 -2160 1440 -2160 1 l(z)
port 15 n
rlabel metal1 1045 -2140 1045 -2140 1 l(z)
port 15 n
<< end >>
